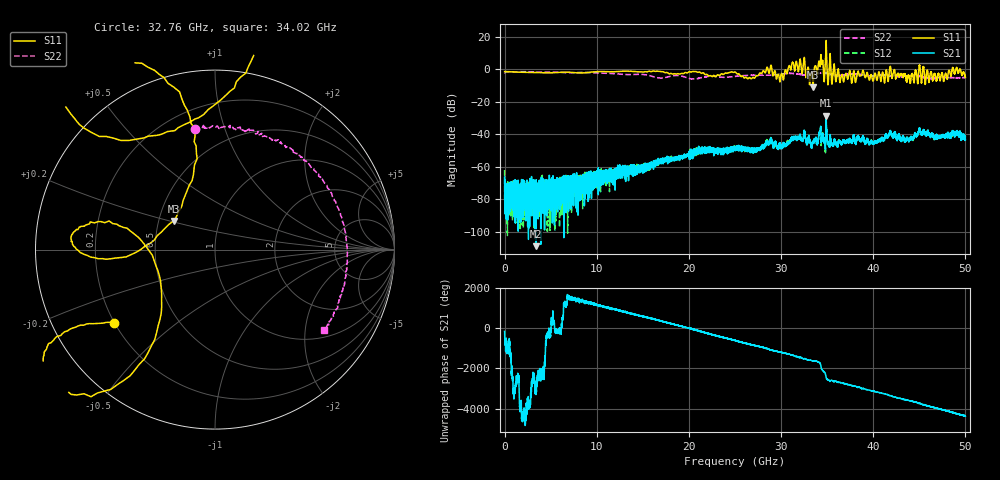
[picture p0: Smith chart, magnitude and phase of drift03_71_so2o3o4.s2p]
!Created with skrf (http://scikit-rf.org).
# Hz S RI R 50.0
!freq ReS11 ImS11 ReS21 ImS21 ReS12 ImS12 ReS22 ImS22
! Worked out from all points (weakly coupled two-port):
!   10001 points, 300 kHz to 50 GHz, reference 50 ohm
!   highest |S21| = -28.39 dB at 34.9 GHz (marker M1); lowest = -108.8 dB at 3.38 GHz (marker M2)
!   lowest |S11| = -11.0 dB at 33.47 GHz (marker M3), VSWR 1.78, Z = 29.9 + j10.4 ohm
!   |S11| at or under -10 dB: 33.44929 GHz to 33.48307 GHz (33.78 MHz wide, 0.101 % of centre)
!   |S22| runs from -5.9 to -1.3 dB; largest |S21 - S12| = 0.011
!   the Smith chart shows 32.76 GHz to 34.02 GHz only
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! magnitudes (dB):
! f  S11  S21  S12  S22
! 300 kHz  -1.3  -66.2  -62.0  -2.0
! 275.3 MHz  -1.3  -80.1  -74.7  -1.4
! 3.38 GHz  -1.9  -108.8  -75.4  -1.5
! 8.335 GHz  -2.2  -69.9  -69.9  -1.9
! 16.67 GHz  -1.1  -57.2  -58.1  -5.2
! 25 GHz  -1.5  -48.5  -48.4  -4.3
! 26.92 GHz  -4.9  -50.9  -49.8  -3.6
! 28.72 GHz  -2.3  -44.8  -44.4  -3.6
! 30.06 GHz  -2.5  -46.5  -47.6  -2.9
! 31.87 GHz  -1.4  -41.5  -42.0  -2.9
! 33.34 GHz  -2.2  -48.1  -47.1  -2.9
! 33.47 GHz  -11.0  -44.3  -44.6  -2.8
! 34.3 GHz  7.6  -35.3  -35.8  -2.4
! 34.9 GHz  17.9  -28.4  -30.5  -2.4
! 36.58 GHz  -3.5  -45.7  -45.7  -3.6
! 40.15 GHz  -2.9  -44.6  -44.4  -3.8
! 41.67 GHz  -5.4  -41.0  -40.5  -3.6
! 43.84 GHz  -3.6  -43.3  -43.9  -3.8
! 45.22 GHz  -7.6  -40.4  -39.3  -4.5
! 47.06 GHz  -2.6  -41.1  -41.6  -5.0
! 49.21 GHz  -2.2  -39.1  -39.2  -5.1
! 50 GHz  -5.0  -43.1  -43.2  -5.0
